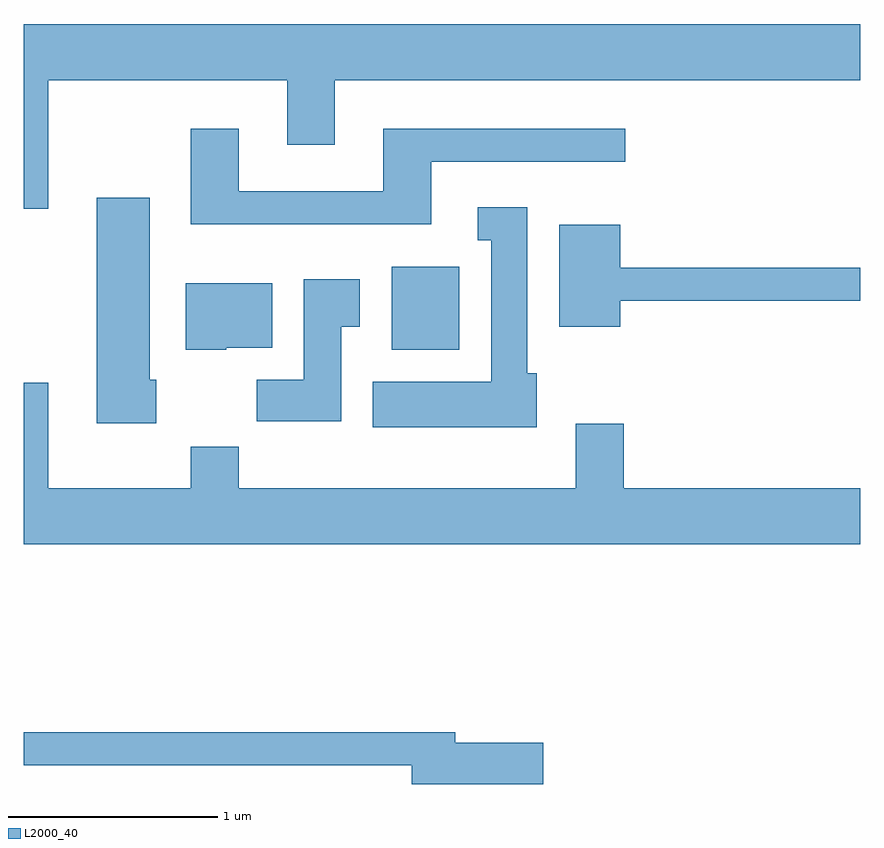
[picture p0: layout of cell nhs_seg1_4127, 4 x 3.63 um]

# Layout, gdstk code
import gdstk
lib = gdstk.Library(unit=1e-6, precision=1e-09)
def R(c, l, rs):  # rectangles x0, y0, x1, y1
    for r in rs: c.add(gdstk.rectangle(r[:2], r[2:], *l))
def P(c, l, *ps):  # polygons
    for p in ps: c.add(gdstk.Polygon(p, *l))
L2000_40 = (2000, 40)

nhs_seg1_4127 = lib.new_cell('nhs_seg1_4127')
R(nhs_seg1_4127, L2000_40, [(311.371,873.866,311.694,874.264)])
P(nhs_seg1_4127, L2000_40, [(309.729,875.156),(310.871,875.156),(310.871,874.846),(311.099,874.846),(311.099,875.156),(313.611,875.156),(313.611,875.424),(309.611,875.424),(309.611,874.541),(309.729,874.541)],
  [(311.559,874.766),(312.488,874.766),(312.488,874.924),(311.331,874.924),(311.331,874.624),(310.639,874.624),(310.639,874.924),(310.411,874.924),(310.411,874.466),(311.559,874.466)],
  [(310.244,873.724),(310.214,873.724),(310.214,874.594),(309.961,874.594),(309.961,873.516),(310.244,873.516)],
  [(312.064,873.754),(312.019,873.754),(312.019,874.549),(311.783,874.549),(311.783,874.391),(311.846,874.391),(311.846,873.714),(311.281,873.714),(311.281,873.496),(312.064,873.496)],
  [(312.464,874.101),(313.611,874.101),(313.611,874.259),(312.464,874.259),(312.464,874.464),(312.171,874.464),(312.171,873.976),(312.464,873.976)],
  [(311.129,873.976),(311.219,873.976),(311.219,874.204),(310.951,874.204),(310.951,873.724),(310.726,873.724),(310.726,873.526),(311.129,873.526)],
  [(310.58,873.876),(310.799,873.876),(310.799,874.184),(310.386,874.184),(310.386,873.866),(310.58,873.866)],
  [(313.611,873.204),(312.479,873.204),(312.479,873.514),(312.251,873.514),(312.251,873.204),(310.639,873.204),(310.639,873.404),(310.411,873.404),(310.411,873.204),(309.729,873.204),(309.729,873.709),(309.611,873.709),(309.611,872.936),(313.611,872.936)],
  [(312.094,871.989),(311.674,871.989),(311.674,872.039),(309.611,872.039),(309.611,871.881),(311.466,871.881),(311.466,871.791),(312.094,871.791)])

lib.write_gds('nhs_seg1_4127.gds')
